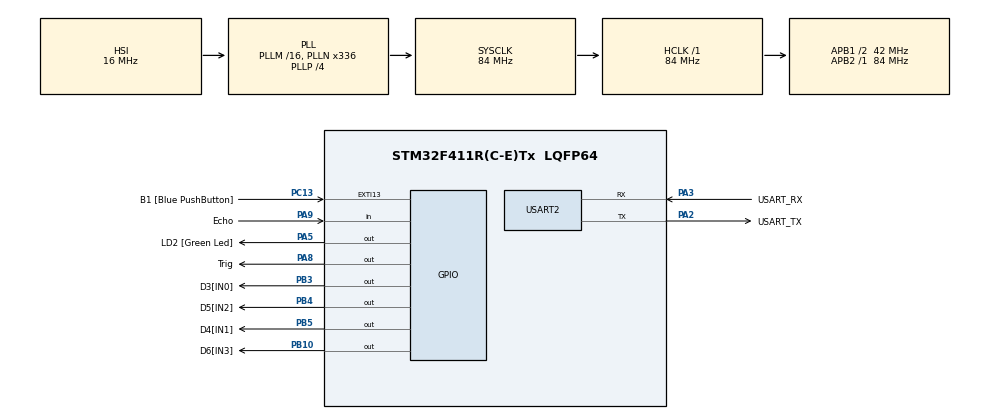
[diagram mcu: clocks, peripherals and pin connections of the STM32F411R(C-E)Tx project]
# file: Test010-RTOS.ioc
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FREERTOS.BinarySemaphores01=myBinarySem01,Dynamic,NULL
FREERTOS.Tasks01=myTask01,0,128,myStartTask01,Default,NULL,Dynamic,NULL,NULL;myTask02,-1,128,myStartTask02,Default,NULL,Dynamic,NULL,NULL;myTask03,-2,128,StartTask03,Default,NULL,Dynamic,NULL,NULL;myTask04,-3,128,StartTask04,Default,NULL,Dynamic,NULL,NULL
FREERTOS.configUSE_NEWLIB_REENTRANT=1
Mcu.Family=STM32F4
Mcu.Name=STM32F411R(C-E)Tx
Mcu.Package=LQFP64
NVIC.EXTI15_10_IRQn=true\:5\:0\:false\:false\:true\:true\:true\:true\:true
NVIC.PriorityGroup=NVIC_PRIORITYGROUP_4
NVIC.TIM1_UP_TIM10_IRQn=true\:15\:0\:false\:false\:true\:false\:false\:true\:true
NVIC.TimeBase=TIM1_UP_TIM10_IRQn
NVIC.TimeBaseIP=TIM10
PA13.GPIO_Label=TMS
PA13.Mode=Serial_Wire
PA13.Signal=SYS_JTMS-SWDIO
PA14.GPIO_Label=TCK
PA14.Mode=Serial_Wire
PA14.Signal=SYS_JTCK-SWCLK
PA2.GPIO_Label=USART_TX
PA2.Mode=Asynchronous
PA2.Signal=USART2_TX
PA3.GPIO_Label=USART_RX
PA3.Mode=Asynchronous
PA3.Signal=USART2_RX
PA5.GPIO_Label=LD2 [Green Led]
PA5.Signal=GPIO_Output
PA8.GPIO_Label=Trig
PA8.Signal=GPIO_Output
PA9.GPIO_Label=Echo
PA9.Signal=GPIO_Input
PB10.GPIO_Label=D6[IN3]
PB10.Signal=GPIO_Output
PB3.GPIO_Label=D3[IN0]
PB3.Signal=GPIO_Output
PB4.GPIO_Label=D5[IN2]
PB4.Signal=GPIO_Output
PB5.GPIO_Label=D4[IN1]
PB5.Signal=GPIO_Output
PC13-ANTI_TAMP.GPIO_Label=B1 [Blue PushButton]
PC13-ANTI_TAMP.GPIO_ModeDefaultEXTI=GPIO_MODE_IT_FALLING
PC13-ANTI_TAMP.Signal=GPXTI13
PC14-OSC32_IN.Mode=LSE-External-Oscillator
PC14-OSC32_IN.Signal=RCC_OSC32_IN
PC15-OSC32_OUT.Mode=LSE-External-Oscillator
PC15-OSC32_OUT.Signal=RCC_OSC32_OUT
PH0\ -\ OSC_IN.Mode=HSE-External-Clock-Source
PH0\ -\ OSC_IN.Signal=RCC_OSC_IN
PH1\ -\ OSC_OUT.Mode=HSE-External-Clock-Source
PH1\ -\ OSC_OUT.Signal=RCC_OSC_OUT
ProjectManager.HeapSize=0x200
ProjectManager.StackSize=0x400
ProjectManager.TargetToolchain=STM32CubeIDE
RCC.48MHZClocksFreq_Value=84000000
RCC.AHBFreq_Value=84000000
RCC.APB1CLKDivider=RCC_HCLK_DIV2
RCC.APB1Freq_Value=42000000
RCC.APB1TimFreq_Value=84000000
RCC.APB2Freq_Value=84000000
RCC.APB2TimFreq_Value=84000000
RCC.CortexFreq_Value=84000000
RCC.FLatency-AdvancedSettings=FLASH_LATENCY_2
RCC.HCLKFreq_Value=84000000
RCC.HSE_VALUE=8000000
RCC.HSI_VALUE=16000000
RCC.PLLN=336
RCC.PLLP=RCC_PLLP_DIV4
RCC.SYSCLKFreq_VALUE=84000000
RCC.SYSCLKSource=RCC_SYSCLKSOURCE_PLLCLK
RCC.VCOOutputFreq_Value=336000000
TIM2.Prescaler=84-1
USART2.VirtualMode=VM_ASYNC
VP_FREERTOS_VS_CMSIS_V1.Mode=CMSIS_V1
VP_SYS_VS_tim10.Mode=TIM10
VP_TIM2_VS_ClockSourceINT.Mode=Internal
board=NUCLEO-F411RE

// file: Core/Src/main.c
/* USER CODE BEGIN Header */
/**
  ******************************************************************************
  * @file           : main.c
  * @brief          : Main program body
  ******************************************************************************
  * @attention
  *
  * Copyright (c) 2025 STMicroelectronics.
  * All rights reserved.
  *
  * This software is licensed under terms that can be found in the LICENSE file
  * in the root directory of this software component.
  * If no LICENSE file comes with this software, it is provided AS-IS.
  *
  ******************************************************************************
  */
/* USER CODE END Header */
#include "main.h"
#include "cmsis_os.h"

/* USER CODE BEGIN Includes */
double Distance ();

/* USER CODE END Includes */

TIM_HandleTypeDef htim2;

UART_HandleTypeDef huart2;

osThreadId myTask01Handle;
osThreadId myTask02Handle;
osThreadId myTask03Handle;
osThreadId myTask04Handle;
osSemaphoreId myBinarySem01Handle;

void SystemClock_Config(void);
static void MX_GPIO_Init(void);
static void MX_USART2_UART_Init(void);
static void MX_TIM2_Init(void);
void myStartTask01(void const * argument);
void myStartTask02(void const * argument);
void StartTask03(void const * argument);
void StartTask04(void const * argument);

/* USER CODE BEGIN 0 */
int bn = 0, mode = 0, t1 = 0; //mode : 1 button pressed,  0 release
void HAL_GPIO_EXTI_Callback(uint16_t GPIO_Pin)
{
	osSemaphoreRelease(myBinarySem01Handle);
	//mode = 1; t1 = 0;
	//bn++;
}
void LD2Test()
{
	HAL_GPIO_TogglePin(LD2_GPIO_Port, LD2_Pin);
}

void step_wave(int step)
{
	int i;
	// step 1
	for(i = 0; i < (step+1); i++)
	{
			   //step 1
		    HAL_GPIO_WritePin(D3_GPIO_Port, D3_Pin, 1);
		    HAL_GPIO_WritePin(D4_GPIO_Port, D4_Pin, 0);
			HAL_GPIO_WritePin(D5_GPIO_Port, D5_Pin, 0);
		    HAL_GPIO_WritePin(D6_GPIO_Port, D6_Pin, 0);
		    HAL_Delay(10);

		      	  // step 2
		    HAL_GPIO_WritePin(D3_GPIO_Port, D3_Pin, 0);
		    HAL_GPIO_WritePin(D4_GPIO_Port, D4_Pin, 1);
		    HAL_GPIO_WritePin(D5_GPIO_Port, D5_Pin, 0);
		    HAL_GPIO_WritePin(D6_GPIO_Port, D6_Pin, 0);
		    HAL_Delay(10);

		    // step 3
		    HAL_GPIO_WritePin(D3_GPIO_Port, D3_Pin, 0);
		    HAL_GPIO_WritePin(D4_GPIO_Port, D4_Pin, 0);
		    HAL_GPIO_WritePin(D5_GPIO_Port, D5_Pin, 1);
		    HAL_GPIO_WritePin(D6_GPIO_Port, D6_Pin, 0);
		    HAL_Delay(10);

		    	  // step 4
		    HAL_GPIO_WritePin(D3_GPIO_Port, D3_Pin, 0);
		    HAL_GPIO_WritePin(D4_GPIO_Port, D4_Pin, 0);
		    HAL_GPIO_WritePin(D5_GPIO_Port, D5_Pin, 0);
		    HAL_GPIO_WritePin(D6_GPIO_Port, D6_Pin, 1);
		    HAL_Delay(10);
	}

	}

/* USER CODE END 0 */

int main(void)
{

  /* MCU Configuration--------------------------------------------------------*/

  /* Reset of all peripherals, Initializes the Flash interface and the Systick. */
  HAL_Init();

  /* Configure the system clock */
  SystemClock_Config();

  /* Initialize all configured peripherals */
  MX_GPIO_Init();
  MX_USART2_UART_Init();
  MX_TIM2_Init();

  /* Create the semaphores(s) */
  /* definition and creation of myBinarySem01 */
  osSemaphoreDef(myBinarySem01);
  myBinarySem01Handle = osSemaphoreCreate(osSemaphore(myBinarySem01), 1);

  /* Create the thread(s) */
  /* definition and creation of myTask01 */
  osThreadDef(myTask01, myStartTask01, osPriorityNormal, 0, 128);
  myTask01Handle = osThreadCreate(osThread(myTask01), NULL);

  /* definition and creation of myTask02 */
  osThreadDef(myTask02, myStartTask02, osPriorityBelowNormal, 0, 128);
  myTask02Handle = osThreadCreate(osThread(myTask02), NULL);

  /* definition and creation of myTask03 */
  osThreadDef(myTask03, StartTask03, osPriorityLow, 0, 128);
  myTask03Handle = osThreadCreate(osThread(myTask03), NULL);

  /* definition and creation of myTask04 */
  osThreadDef(myTask04, StartTask04, osPriorityIdle, 0, 128);
  myTask04Handle = osThreadCreate(osThread(myTask04), NULL);

  /* USER CODE BEGIN RTOS_THREADS */
  /* add threads, ... */

  ProgramStart("RTOS test....");
  //HAL_TIM_Base_Start(&htim2);
  osSemaphoreRelease(myBinarySem01Handle);
  HAL_TIM_Base_Start(&htim2);

  /* USER CODE END RTOS_THREADS */

  /* Start scheduler */
  osKernelStart();

  /* We should never get here as control is now taken by the scheduler */
  /* Infinite loop */
  /* USER CODE BEGIN WHILE */
  while (1)
  {
	  LD2Test();
	  osDelay(500);
	  //HAL_Delay(500);
    /* USER CODE END WHILE */

  }
}

void SystemClock_Config(void)
{
  RCC_OscInitTypeDef RCC_OscInitStruct = {0};
  RCC_ClkInitTypeDef RCC_ClkInitStruct = {0};

  /** Configure the main internal regulator output voltage
  */
  __HAL_RCC_PWR_CLK_ENABLE();
  __HAL_PWR_VOLTAGESCALING_CONFIG(PWR_REGULATOR_VOLTAGE_SCALE1);

  /** Initializes the RCC Oscillators according to the specified parameters
  * in the RCC_OscInitTypeDef structure.
  */
  RCC_OscInitStruct.OscillatorType = RCC_OSCILLATORTYPE_HSI;
  RCC_OscInitStruct.HSIState = RCC_HSI_ON;
  RCC_OscInitStruct.HSICalibrationValue = RCC_HSICALIBRATION_DEFAULT;
  RCC_OscInitStruct.PLL.PLLState = RCC_PLL_ON;
  RCC_OscInitStruct.PLL.PLLSource = RCC_PLLSOURCE_HSI;
  RCC_OscInitStruct.PLL.PLLM = 16;
  RCC_OscInitStruct.PLL.PLLN = 336;
  RCC_OscInitStruct.PLL.PLLP = RCC_PLLP_DIV4;
  RCC_OscInitStruct.PLL.PLLQ = 4;
  if (HAL_RCC_OscConfig(&RCC_OscInitStruct) != HAL_OK)
  {
    Error_Handler();
  }

  /** Initializes the CPU, AHB and APB buses clocks
  */
  RCC_ClkInitStruct.ClockType = RCC_CLOCKTYPE_HCLK|RCC_CLOCKTYPE_SYSCLK
                              |RCC_CLOCKTYPE_PCLK1|RCC_CLOCKTYPE_PCLK2;
  RCC_ClkInitStruct.SYSCLKSource = RCC_SYSCLKSOURCE_PLLCLK;
  RCC_ClkInitStruct.AHBCLKDivider = RCC_SYSCLK_DIV1;
  RCC_ClkInitStruct.APB1CLKDivider = RCC_HCLK_DIV2;
  RCC_ClkInitStruct.APB2CLKDivider = RCC_HCLK_DIV1;

  if (HAL_RCC_ClockConfig(&RCC_ClkInitStruct, FLASH_LATENCY_2) != HAL_OK)
  {
    Error_Handler();
  }
}

static void MX_TIM2_Init(void)
{

  TIM_ClockConfigTypeDef sClockSourceConfig = {0};
  TIM_MasterConfigTypeDef sMasterConfig = {0};

  htim2.Instance = TIM2;
  htim2.Init.Prescaler = 84-1;
  htim2.Init.CounterMode = TIM_COUNTERMODE_UP;
  htim2.Init.Period = 4294967295;
  htim2.Init.ClockDivision = TIM_CLOCKDIVISION_DIV1;
  htim2.Init.AutoReloadPreload = TIM_AUTORELOAD_PRELOAD_DISABLE;
  if (HAL_TIM_Base_Init(&htim2) != HAL_OK)
  {
    Error_Handler();
  }
  sClockSourceConfig.ClockSource = TIM_CLOCKSOURCE_INTERNAL;
  if (HAL_TIM_ConfigClockSource(&htim2, &sClockSourceConfig) != HAL_OK)
  {
    Error_Handler();
  }
  sMasterConfig.MasterOutputTrigger = TIM_TRGO_RESET;
  sMasterConfig.MasterSlaveMode = TIM_MASTERSLAVEMODE_DISABLE;
  if (HAL_TIMEx_MasterConfigSynchronization(&htim2, &sMasterConfig) != HAL_OK)
  {
    Error_Handler();
  }

}

static void MX_USART2_UART_Init(void)
{

  huart2.Instance = USART2;
  huart2.Init.BaudRate = 115200;
  huart2.Init.WordLength = UART_WORDLENGTH_8B;
  huart2.Init.StopBits = UART_STOPBITS_1;
  huart2.Init.Parity = UART_PARITY_NONE;
  huart2.Init.Mode = UART_MODE_TX_RX;
  huart2.Init.HwFlowCtl = UART_HWCONTROL_NONE;
  huart2.Init.OverSampling = UART_OVERSAMPLING_16;
  if (HAL_UART_Init(&huart2) != HAL_OK)
  {
    Error_Handler();
  }

}

static void MX_GPIO_Init(void)
{
  GPIO_InitTypeDef GPIO_InitStruct = {0};

  /* GPIO Ports Clock Enable */
  __HAL_RCC_GPIOC_CLK_ENABLE();
  __HAL_RCC_GPIOH_CLK_ENABLE();
  __HAL_RCC_GPIOA_CLK_ENABLE();
  __HAL_RCC_GPIOB_CLK_ENABLE();

  /*Configure GPIO pin Output Level */
  HAL_GPIO_WritePin(GPIOA, LD2_Pin|Trig_Pin, GPIO_PIN_RESET);

  /*Configure GPIO pin Output Level */
  HAL_GPIO_WritePin(GPIOB, D6_Pin|D3_Pin|D5_Pin|D4_Pin, GPIO_PIN_RESET);

  /*Configure GPIO pin : B1_Pin */
  GPIO_InitStruct.Pin = B1_Pin;
  GPIO_InitStruct.Mode = GPIO_MODE_IT_FALLING;
  GPIO_InitStruct.Pull = GPIO_NOPULL;
  HAL_GPIO_Init(B1_GPIO_Port, &GPIO_InitStruct);

  /*Configure GPIO pins : LD2_Pin Trig_Pin */
  GPIO_InitStruct.Pin = LD2_Pin|Trig_Pin;
  GPIO_InitStruct.Mode = GPIO_MODE_OUTPUT_PP;
  GPIO_InitStruct.Pull = GPIO_NOPULL;
  GPIO_InitStruct.Speed = GPIO_SPEED_FREQ_LOW;
  HAL_GPIO_Init(GPIOA, &GPIO_InitStruct);

  /*Configure GPIO pins : D6_Pin D3_Pin D5_Pin D4_Pin */
  GPIO_InitStruct.Pin = D6_Pin|D3_Pin|D5_Pin|D4_Pin;
  GPIO_InitStruct.Mode = GPIO_MODE_OUTPUT_PP;
  GPIO_InitStruct.Pull = GPIO_NOPULL;
  GPIO_InitStruct.Speed = GPIO_SPEED_FREQ_LOW;
  HAL_GPIO_Init(GPIOB, &GPIO_InitStruct);

  /*Configure GPIO pin : Echo_Pin */
  GPIO_InitStruct.Pin = Echo_Pin;
  GPIO_InitStruct.Mode = GPIO_MODE_INPUT;
  GPIO_InitStruct.Pull = GPIO_NOPULL;
  HAL_GPIO_Init(Echo_GPIO_Port, &GPIO_InitStruct);

  /* EXTI interrupt init*/
  HAL_NVIC_SetPriority(EXTI15_10_IRQn, 5, 0);
  HAL_NVIC_EnableIRQ(EXTI15_10_IRQn);

}

/* USER CODE BEGIN 4 */
//double dist = Distance();
double distan;
/* USER CODE END 4 */

void myStartTask01(void const * argument)
{
  /* USER CODE BEGIN 5 */
	int n1 = 0;

  /* Infinite loop */
  for(;;)
  {
	  if(osSemaphoreWait(myBinarySem01Handle, 0) == osOK)
	  {
		  printf("Task 01 Ultrasonic (Normal)----------------------- \r\n");

		  double dist = Distance();
		  distan = dist;
		 // printf("Distance : %f\r\n" , dist);
		  osSemaphoreRelease(myBinarySem01Handle);

		/*  while (1)
		  {
			  double dist = Distance();

			  printf("Distance : %f\r\n", dist);
		  }
		  */
	  }
		osDelay(10);

	//  LD2Test();
	 // Cursor(0,0);
	 // printf("LD2 flashed %d times(Task_1)   ",n1++);
	  //HAL_Delay(500);
	//  osDelay(500);
  }
  /* USER CODE END 5 */
}

void myStartTask02(void const * argument)
{
  /* USER CODE BEGIN myStartTask02 */
  /* Infinite loop */
	int n=0;
	for(;;)
	{
	/*	int d; //degree angle
	  	Cursor(0,10);
	 	if(mode)
	  	{
	  		printf("B1 button pressed...%d times\r\n", bn);
	  		step_wave((t1 % 4) + 1);
	  		if(++t1 > 256) { t1 = 0; mode = 0; }
	  	}
	  	else
	  		printf("                                   ");

	  printf("Input Degree : ");
	  scanf("%d", &d);
	  int step = 4096 * d / 360;
	  printf("Wave(Full) : %d steps, Half : %d steps", step/2, step); */
		  if(osSemaphoreWait(myBinarySem01Handle, 0) == osOK)
		  {
		printf("Task 02 stepmotor (BelowNormal)----------------------- \r\n");
		step_wave(distan);
		  osSemaphoreRelease(myBinarySem01Handle);

		  }
		osDelay(10); //TASK delay

  }
  /* USER CODE END myStartTask02 */
}

void StartTask03(void const * argument)
{
  /* USER CODE BEGIN StartTask03 */
  /* Infinite loop */
  for(;;)
  {
	  if(osSemaphoreWait(myBinarySem01Handle, 0) == osOK)
	  {
		printf("Task 03 LED (Low)----------------------- \r\n");

			HAL_GPIO_WritePin(LD2_GPIO_Port, LD2_Pin, 1);
			osDelay(3000);
		    HAL_GPIO_WritePin(LD2_GPIO_Port, LD2_Pin, 0);

		  osSemaphoreRelease(myBinarySem01Handle);

	  }
    osDelay(10);
  }
  /* USER CODE END StartTask03 */
}

void StartTask04(void const * argument)
{
  /* USER CODE BEGIN StartTask04 */
  /* Infinite loop */
  for(;;)
  {
	  if(osSemaphoreWait(myBinarySem01Handle, 0) == osOK)
	  {
		printf("Task 04 Text (Idle)----------------------- \r\n");
		printf("sequence end, distance = %d \r\n",distan);
		// osSemaphoreRelease(myBinarySem01Handle);

	  }
    osDelay(10);
  }
  /* USER CODE END StartTask04 */
}

void HAL_TIM_PeriodElapsedCallback(TIM_HandleTypeDef *htim)
{
  if (htim->Instance == TIM10) {
    HAL_IncTick();
  }
}

void Error_Handler(void)
{
  __disable_irq();
  while (1)
  {
  }
}
